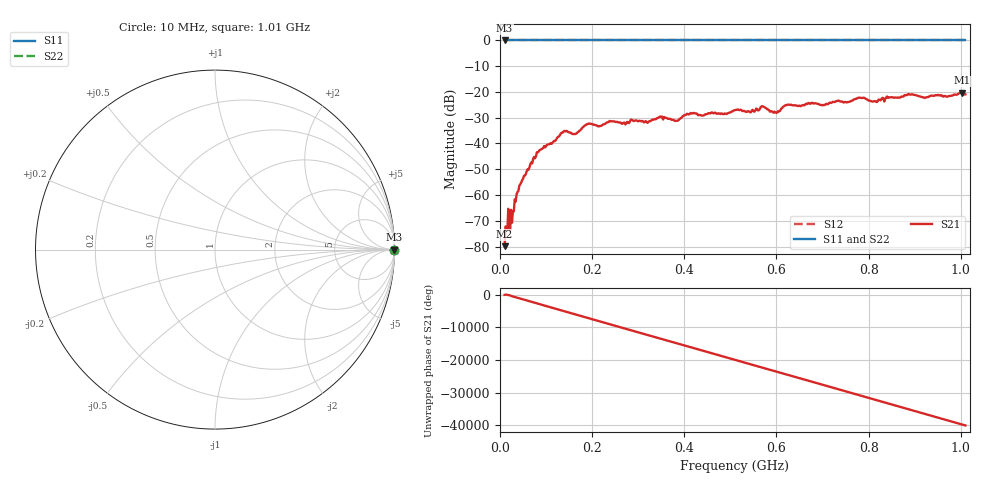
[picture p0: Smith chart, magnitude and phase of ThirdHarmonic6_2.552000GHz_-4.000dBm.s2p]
! 8/17/2025 5:13:17 AM
! C:\ANRITSUVNA\TEMP\TEMP.S2P
! CHANNEL.1
! TR.MEASUREMENT
! RAW.DATA
! RF.CORRECTION.OFF
! AVERAGING.OFF
! IF.BANDWIDTH: 5KHZ
! SWEEPTYPE:  FREQ.SWEEP(Linear)
! Reference Plane Port Info
! PORT:  PORT1  PORT2
! DISTANCE:  0  m  0  m
! TIME:  0  s  0  s
! PHASE.OFFSET:  0  deg.  0  deg.
! LOSS:  0  dB  0  dB
! REF.LOSS:  0  dB  0  dB
! REF.FREQ:  0  Hz  0  Hz
! Power Info
! POWER:  -20  dBm  -20  dBm
! EFF.POWER:  -20  dBm  -20  dBm
! SOURCE.ATTEN:  0  dB  0  dB
! TEST.ATTEN:  0  dB  0  dB
# GHZ S RI R 50.0
! FREQ.GHZ  S11RE  S11IM  S21RE  S21IM  S12RE  S12IM  S22RE  S22IM
!; PortSelection: Port_12
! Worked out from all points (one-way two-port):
!   501 points, 10 MHz to 1.01 GHz, reference 50 ohm
!   highest |S21| = -20.24 dB at 1.002 GHz (marker M1); lowest = -79.9 dB at 10 MHz (marker M2)
!   lowest |S11| = 0.0 dB at 10 MHz (marker M3)
!   |S11| at or under -10 dB: nowhere
!   |S22| runs from 0.0 to 0.0 dB; largest |S21 - S12| = 1.1
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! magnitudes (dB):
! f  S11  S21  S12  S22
! 10 MHz  0.0  -79.9  0.0  0.0
! 16 MHz  0.0  -73.6  0.0  0.0
! 24 MHz  0.0  -65.8  0.0  0.0
! 36 MHz  0.0  -59.7  0.0  0.0
! 46 MHz  0.0  -55.1  0.0  0.0
! 84 MHz  0.0  -43.1  0.0  0.0
! 136 MHz  0.0  -35.8  0.0  0.0
! 162 MHz  0.0  -36.3  0.0  0.0
! 178 MHz  0.0  -34.0  0.0  0.0
! 192 MHz  0.0  -32.3  0.0  0.0
! 322 MHz  0.0  -31.6  0.0  0.0
! 344 MHz  0.0  -30.0  0.0  0.0
! 382 MHz  0.0  -31.2  0.0  0.0
! 416 MHz  0.0  -28.3  0.0  0.0
! 510 MHz  0.0  -27.1  0.0  0.0
! 570 MHz  0.0  -25.6  0.0  0.0
! 598 MHz  0.0  -27.9  0.0  0.0
! 622 MHz  0.0  -25.1  0.0  0.0
! 678 MHz  0.0  -24.2  0.0  0.0
! 844 MHz  0.0  -22.1  0.0  0.0
! 1.002 GHz  0.0  -20.2  0.0  0.0
! 1.01 GHz  0.0  -20.9  0.0  0.0
